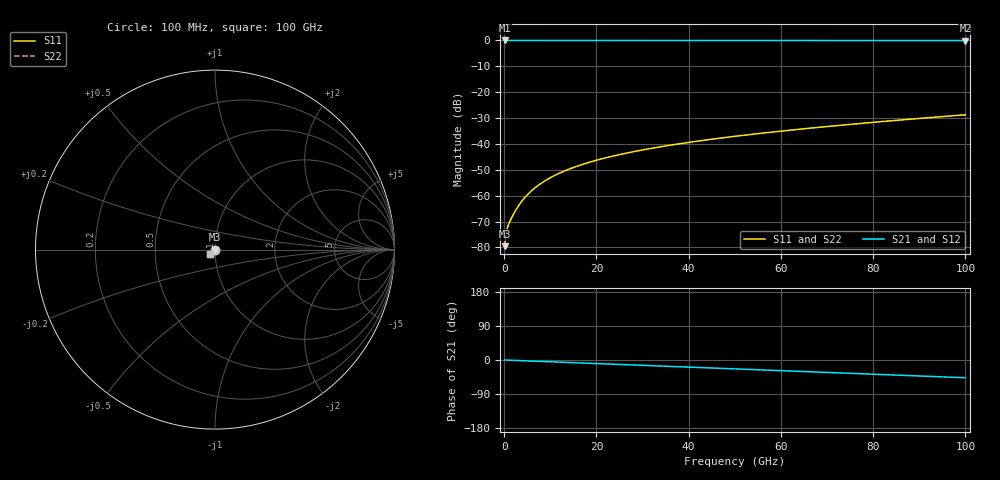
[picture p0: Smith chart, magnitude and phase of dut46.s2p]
! Touchstone file exported from HFSS 2026.1.0
!  File:  C:/ffzhzh/LocalFiles/Ansys_Project_Files/temp_train_TSV_46_1783504856_44152.aedt
!  Generated:  06:02:07 PM Jul  8, 2026
!  Design:  TSV
!  Project:  temp_train_TSV_46_1783504856_44152
! Variables:
!  h_bsmrdl = 2um
!  h_ox = 20um
!  h_rdl = 5um
!  h_sub = 95.05um
!  h_tmrdl = 5um
!  h_tsv = 95.05um
!  h_via = 3um
!  l_bsmrdl = 300um
!  l_sub = 425.18um
!  l_tmrdl = 200um
!  m_sub = 200um
!  pitch = 49.28um
!  r_tsv = 12.59um
!  s_tmrdl = 10um
!  w_bsmrdl = 18um
!  w_sub = 500um
!  w_tmrdl = 12um
!  x_tsv_center1 = 206um
!  x_tsv_center2 = 524um
!  x_tsv_center3 = 736um
!  x_tsv_center4 = 1054um
!  x_tsv_center5 = 1266um
!  x_tsv_center6 = 1584um
# GHz S MA R 50.000000
! Terminal data exported
! Port[1] = TSV1_1_T1
! Port[2] = TSV1_1_T2
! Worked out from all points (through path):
!   1000 points, 100 MHz to 100 GHz, reference 50 ohm
!   highest |S21| = 0.00 dB at 100 MHz (marker M1); lowest = 0.0 dB at 100 GHz (marker M2)
!   group delay of S21, straight-line fit = 1.3 ps
!   lowest |S11| = -79.5 dB at 100 MHz (marker M3), VSWR 1.00, Z = 50 + j0.00248 ohm
!   |S11| at or under -10 dB: start of sweep to end of sweep
!   |S22| runs from -79.5 to -28.7 dB; largest |S21 - S12| = 4e-15
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0.1  0.0001057 13.6  0.9999 -0.0  0.9999 -0.0  0.0001057 13.6
! Gamma 0 0 0 0
! Port Impedance 50 0 50 0
0.3  0.0001528 21.5  0.9999 -0.1  0.9999 -0.1  0.0001528 21.5
0.7  0.000238 8.3  0.9998 -0.3  0.9998 -0.3  0.000238 8.3
0.9  0.0002698 1.0  0.9997 -0.4  0.9997 -0.4  0.0002698 1.0
1.2  0.0003132 -8.5  0.9997 -0.6  0.9997 -0.6  0.0003132 -8.5
1.7  0.0003869 -20.5  0.9996 -0.8  0.9996 -0.8  0.000387 -20.5
2.5  0.0005217 -33.7  0.9996 -1.2  0.9996 -1.2  0.0005217 -33.7
3.4  0.0006953 -43.7  0.9995 -1.6  0.9995 -1.6  0.0006954 -43.7
4.3  0.0008839 -50.8  0.9994 -2.0  0.9994 -2.0  0.0008839 -50.8
5.3  0.001104 -56.7  0.9994 -2.5  0.9994 -2.5  0.001104 -56.7
7.4  0.001588 -64.9  0.9992 -3.5  0.9992 -3.5  0.001588 -64.9
10.1  0.002247 -71.2  0.9991 -4.7  0.9991 -4.7  0.002247 -71.1
13.2  0.003035 -76.2  0.999 -6.2  0.999 -6.2  0.003035 -76.2
16.8  0.003978 -80.8  0.9988 -7.9  0.9988 -7.9  0.003978 -80.8
20.2  0.004891 -84.3  0.9987 -9.4  0.9987 -9.4  0.004892 -84.3
24.1  0.005966 -87.8  0.9986 -11.3  0.9986 -11.3  0.005967 -87.8
33.4  0.008664 -94.8  0.9983 -15.6  0.9983 -15.6  0.008665 -94.8
41.1  0.01106 -99.9  0.9981 -19.2  0.9981 -19.2  0.01106 -99.9
50.1  0.01407 -105.5  0.9978 -23.4  0.9978 -23.4  0.01407 -105.4
66.7  0.02032 -115.1  0.9974 -31.2  0.9974 -31.2  0.02033 -115.0
83.4  0.02777 -124.4  0.9968 -39.0  0.9968 -39.0  0.02777 -124.3
100  0.03662 -133.5  0.996 -46.9  0.996 -46.9  0.03663 -133.4
